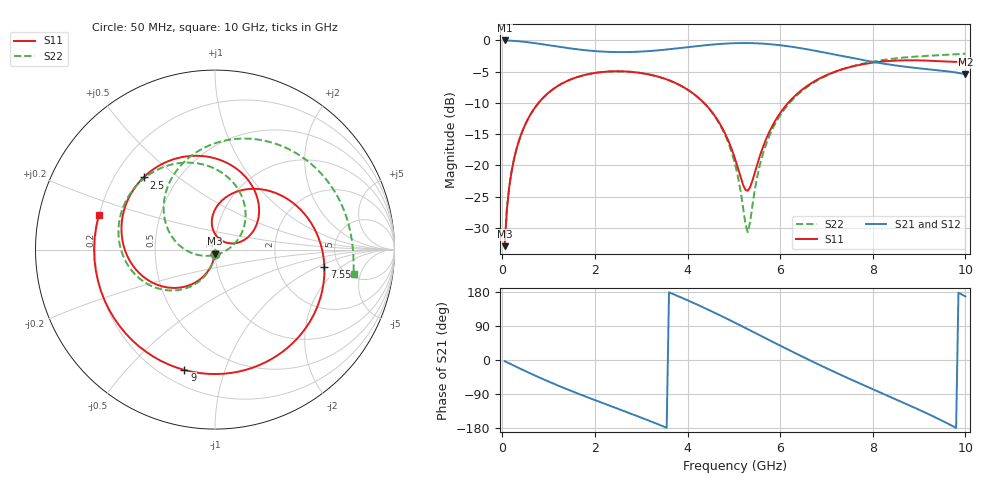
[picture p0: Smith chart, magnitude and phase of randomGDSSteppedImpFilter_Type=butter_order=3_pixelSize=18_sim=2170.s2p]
! freq	dB(S11)	phase(S11)	dB(S12)	phase(S12)
!  dB(S21)	phase(S21)	dB(S22)	phase(S22)
!S-par simulation data
#  GHz  S  DB  R 50
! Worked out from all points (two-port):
!   200 points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, 50 MHz to 10 GHz, reference 50 ohm
!   highest |S21| = -0.01 dB at 50 MHz (marker M1); lowest = -5.4 dB at 10 GHz (marker M2)
!   |S21| within 3 dB of the highest: start of sweep to 7.686 GHz
!   lowest |S11| = -32.9 dB at 50 MHz (marker M3), VSWR 1.05, Z = 49.8 - j2.24 ohm
!   |S11| at or under -10 dB: start of sweep to 784.3 MHz; 4.355 GHz to 6.173 GHz (1.818 GHz wide, 34.5 % of centre)
!   |S22| runs from -32.9 to -2.1 dB; largest |S21 - S12| = 0
!   S11 on the Smith chart (normalised r, x): 50 MHz: 1.00, -0.04; 2.5 GHz: 0.32, +0.38; 7.55 GHz: 3.81, -1.21; 9 GHz: 0.29, -0.74; 10 GHz: 0.20, +0.14
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0.05  -32.95 -93.1  -0.01 -3.0  -0.01 -3.0  -32.94 -92.9
0.1  -26.95 -96.4  -0.02 -6.0  -0.02 -6.0  -26.94 -95.9
0.2  -20.99 -102.7  -0.05 -11.9  -0.05 -11.9  -20.99 -101.8
0.5  -13.40 -121.0  -0.24 -29.4  -0.24 -29.4  -13.39 -118.8
1.1  -7.78 -155.1  -0.88 -62.1  -0.88 -62.1  -7.78 -150.2
1.75  -5.59 171.3  -1.54 -94.2  -1.54 -94.2  -5.59 179.4
2.5  -4.94 134.7  -1.87 -128.8  -1.87 -128.8  -4.94 146.9
3.4  -5.88 89.9  -1.56 -171.4  -1.56 -171.4  -5.88 107.4
4.25  -9.26 44.7  -0.88 143.9  -0.88 143.9  -9.30 65.5
4.75  -14.02 21.0  -0.54 114.9  -0.54 114.9  -14.21 36.0
5.05  -19.52 18.9  -0.43 96.8  -0.43 96.8  -20.54 10.6
5.3  -24.07 60.8  -0.42 81.4  -0.42 81.4  -30.70 -77.1
5.55  -18.77 96.2  -0.48 65.9  -0.48 65.9  -20.31 -161.5
5.8  -14.14 93.2  -0.61 50.3  -0.61 50.3  -14.73 176.5
6.25  -9.38 70.5  -1.02 22.6  -1.02 22.6  -9.63 148.4
6.7  -6.72 43.3  -1.58 -4.3  -1.58 -4.3  -6.86 123.7
7.55  -4.19 -9.2  -2.81 -52.6  -2.81 -52.6  -4.16 81.8
7.95  -3.61 -33.9  -3.37 -74.3  -3.37 -74.3  -3.47 63.9
8.35  -3.30 -59.2  -3.85 -95.8  -3.85 -95.8  -3.00 47.0
9  -3.20 -104.2  -4.47 -131.3  -4.47 -131.3  -2.55 22.1
9.6  -3.39 -155.2  -4.94 -166.5  -4.94 -166.5  -2.31 2.0
10  -3.41 163.3  -5.41 167.7  -5.41 167.7  -2.12 -9.8
